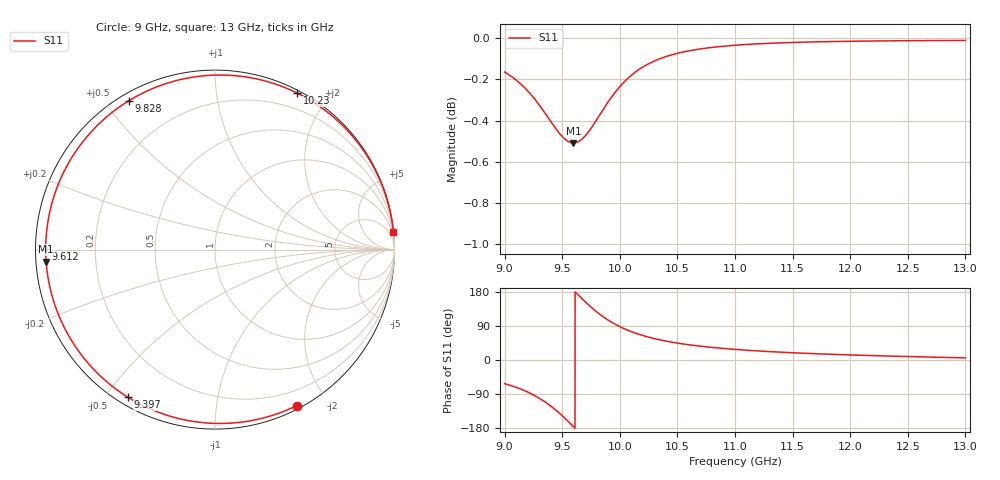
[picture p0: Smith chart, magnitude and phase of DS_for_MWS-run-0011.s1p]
! TOUCHSTONE file generated by CST DESIGN STUDIO
! Date and time: Tue Feb  4 13:48:56 2025
! Project name: C:\Work\MatlabApps\UnitCellOptimizationMatlab\CST\unitcell.cst
! Tree item: Tasks\Sweep1\SPara1\S-Parameters
! Header version: 2024
! Port assignment regex: !\s*Touchstone port\s*([0-9]+)\s*=\s*(CST MWS port|CST DES external port|CST DES block port)\s*(.+)\s* \(\"(.*)\"\)(\s*mode\s*([0-9]+))?.*
! Touchstone port assignment:
! Touchstone port 1 = CST DES external port 1 ("")
# GHz S MA R 50
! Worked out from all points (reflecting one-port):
!   4001 points, 9 GHz to 13 GHz, reference 50 ohm
!   lowest |S11| = -0.5 dB at 9.598 GHz (marker M1), VSWR 34.17, Z = 1.47 - j1.76 ohm
!   phase of S11 starts at -62 deg and turns -292 deg over the sweep
!   S11 on the Smith chart (normalised r, x): 9 GHz: 0.04, -1.65; 9.397 GHz: 0.03, -0.57; 9.612 GHz: 0.03, +0.00; 9.828 GHz: 0.03, +0.58; 10.23 GHz: 0.03, +1.65; 13 GHz: 0, +20
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9  0.9813 -62.4
9.051  0.9792 -67.1
9.122  0.9757 -74.6
9.184  0.9721 -82.3
9.244  0.9679 -91.1
9.326  0.9612 -105.5
9.397  0.9548 -120.6
9.448  0.9504 -133.1
9.5  0.9465 -147.1
9.551  0.944 -161.8
9.598  0.9431 -176.0
9.612  0.9432 179.8
9.657  0.9444 166.2
9.704  0.9471 152.4
9.766  0.9523 135.4
9.828  0.9583 120.1
9.907  0.9658 103.6
10  0.9733 87.9
10.108  0.9799 73.9
10.226  0.985 62.3
10.353  0.9887 52.9
10.5  0.9916 44.6
10.72  0.9942 35.7
11  0.9961 28.0
11.5  0.9977 19.1
12  0.9983 13.4
12.5  0.9986 9.1
13  0.9988 5.6
